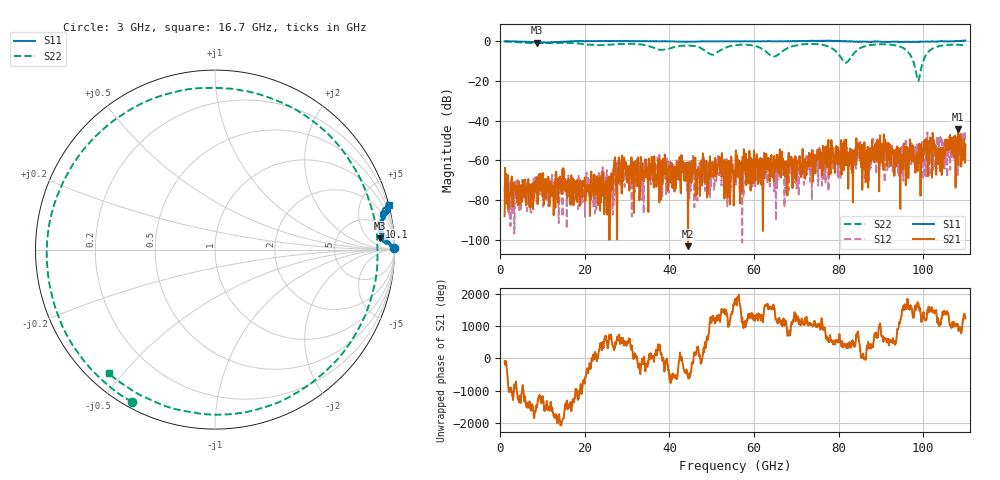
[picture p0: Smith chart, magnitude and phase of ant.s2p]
!Keysight Technologies,N5222B,MY58421742,A.17.00.05
!Date: Friday, September 20, 2024 13:39:56
!Correction: S11(C  2-Port  )
!S21(C  2-Port  )
!S12(C  2-Port  )
!S22(C  2-Port  )
!S2P File: Measurements: S11, S21, S12, S22:
# Hz S  dB  R 50
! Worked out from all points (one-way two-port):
!   1091 points, 1 GHz to 110 GHz, reference 50 ohm
!   highest |S21| = -44.18 dB at 108.3 GHz (marker M1); lowest = -103.4 dB at 44.4 GHz (marker M2)
!   lowest |S11| = -0.7 dB at 8.7 GHz (marker M3), VSWR 24.33, Z = 717 + j598 ohm
!   |S11| at or under -10 dB: nowhere
!   |S22| runs from -19.9 to -0.1 dB; largest |S21 - S12| = 0.006
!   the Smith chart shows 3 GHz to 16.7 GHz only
!   S11 on the Smith chart (normalised r, x): 3 GHz: open; 10.1 GHz: 6, +11; 16.7 GHz: -0.02, +7.96
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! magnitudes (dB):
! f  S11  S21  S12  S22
! 1 GHz  0.0  -88.2  -76.0  -0.1
! 3 GHz  0.0  -78.2  -78.3  -0.3
! 8.7 GHz  -0.7  -76.6  -79.7  -0.9
! 10.1 GHz  -0.7  -66.4  -83.5  -0.9
! 16.7 GHz  0.0  -68.6  -72.1  -0.8
! 19.2 GHz  0.0  -71.1  -77.5  -1.3
! 25.6 GHz  0.1  -70.6  -68.0  -1.8
! 29.3 GHz  0.1  -58.7  -71.7  -1.4
! 31.3 GHz  0.1  -66.7  -74.4  -1.3
! 37.4 GHz  0.0  -71.0  -70.9  -4.1
! 44.4 GHz  -0.2  -103.4  -62.2  -2.1
! 55.5 GHz  0.0  -70.9  -64.6  -2.0
! 64.7 GHz  0.0  -70.6  -64.9  -7.7
! 73.7 GHz  0.1  -54.9  -80.0  -1.3
! 81.7 GHz  0.0  -53.7  -56.8  -10.9
! 86.7 GHz  -0.2  -55.0  -64.3  -2.2
! 91.9 GHz  -0.3  -59.7  -63.6  -1.6
! 96.3 GHz  -0.2  -54.2  -54.7  -5.1
! 98.8 GHz  -0.1  -59.5  -59.2  -19.8
! 101.8 GHz  -0.1  -50.0  -56.0  -4.2
! 108.3 GHz  0.1  -44.2  -48.1  -1.7
! 110 GHz  0.4  -52.4  -61.7  -2.4
